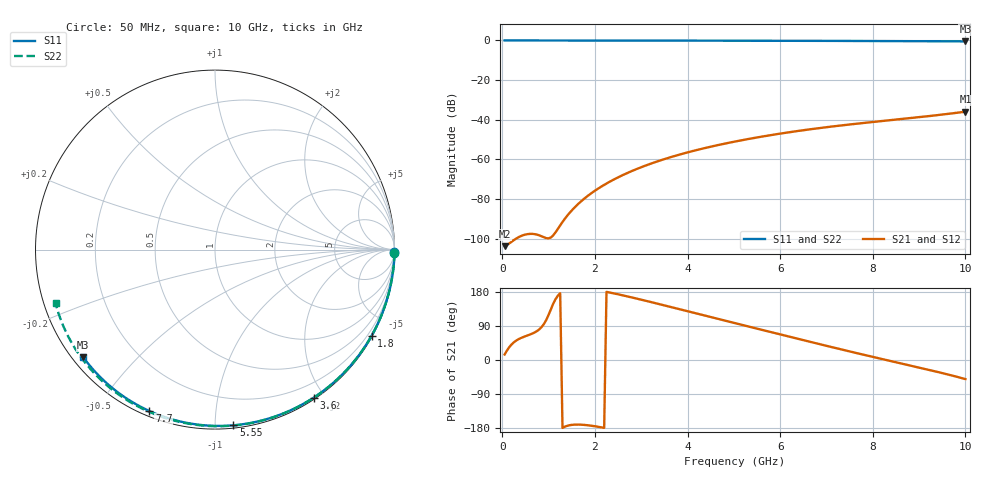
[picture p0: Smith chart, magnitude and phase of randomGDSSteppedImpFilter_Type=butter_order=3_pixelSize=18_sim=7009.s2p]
! freq	dB(S11)	phase(S11)	dB(S12)	phase(S12)
!  dB(S21)	phase(S21)	dB(S22)	phase(S22)
!S-par simulation data
#  GHz  S  DB  R 50
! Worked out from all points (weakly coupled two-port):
!   200 points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, 50 MHz to 10 GHz, reference 50 ohm
!   highest |S21| = -35.92 dB at 10 GHz (marker M1); lowest = -103.7 dB at 50 MHz (marker M2)
!   lowest |S11| = -0.5 dB at 10 GHz (marker M3), VSWR 37.49, Z = 1.5 - j17.8 ohm
!   |S11| at or under -10 dB: nowhere
!   |S22| runs from -0.6 to 0.0 dB; largest |S21 - S12| = 0
!   S11 on the Smith chart (normalised r, x): 50 MHz: open; 1.8 GHz: 0.03, -3.89; 3.6 GHz: 0.02, -1.87; 5.55 GHz: 0.02, -1.11; 7.7 GHz: 0.02, -0.67; 10 GHz: 0.03, -0.36
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0.05  -0.00 -0.8  -103.73 14.5  -103.73 14.5  -0.00 -1.0
0.45  -0.01 -7.3  -98.21 60.5  -98.21 60.5  -0.01 -8.5
0.9  -0.02 -14.6  -99.27 95.2  -99.27 95.2  -0.02 -16.9
1.3  -0.03 -21.0  -91.54 -179.2  -91.54 -179.2  -0.03 -24.3
1.75  -0.04 -28.1  -80.15 -171.1  -80.15 -171.1  -0.04 -32.6
1.8  -0.04 -28.9  -79.20 -171.6  -79.20 -171.6  -0.04 -33.5
1.95  -0.04 -31.2  -76.57 -173.9  -76.57 -173.9  -0.05 -36.2
2.1  -0.04 -33.6  -74.24 -176.8  -74.24 -176.8  -0.05 -38.9
2.3  -0.05 -36.7  -71.48 178.6  -71.48 178.6  -0.05 -42.5
2.5  -0.05 -39.7  -69.03 173.4  -69.03 173.4  -0.06 -46.0
2.9  -0.06 -45.9  -64.84 162.1  -64.84 162.1  -0.07 -53.1
3.4  -0.07 -53.4  -60.58 147.2  -60.58 147.2  -0.08 -61.7
3.6  -0.08 -56.3  -59.10 141.0  -59.10 141.0  -0.09 -65.1
4.25  -0.09 -65.8  -54.95 121.0  -54.95 121.0  -0.11 -75.9
5.05  -0.12 -77.1  -50.86 96.5  -50.86 96.5  -0.14 -88.7
5.55  -0.14 -84.0  -48.70 81.2  -48.70 81.2  -0.16 -96.5
6.1  -0.16 -91.4  -46.61 64.5  -46.61 64.5  -0.19 -104.8
6.7  -0.19 -99.3  -44.63 46.4  -44.63 46.4  -0.22 -113.8
7.7  -0.26 -112.1  -41.86 16.8  -41.86 16.8  -0.29 -128.3
8.35  -0.31 -120.3  -40.27 -1.7  -40.27 -1.7  -0.35 -137.7
9.2  -0.39 -130.8  -38.17 -25.7  -38.17 -25.7  -0.45 -149.9
10  -0.46 -140.7  -35.92 -50.4  -35.92 -50.4  -0.57 -161.5
